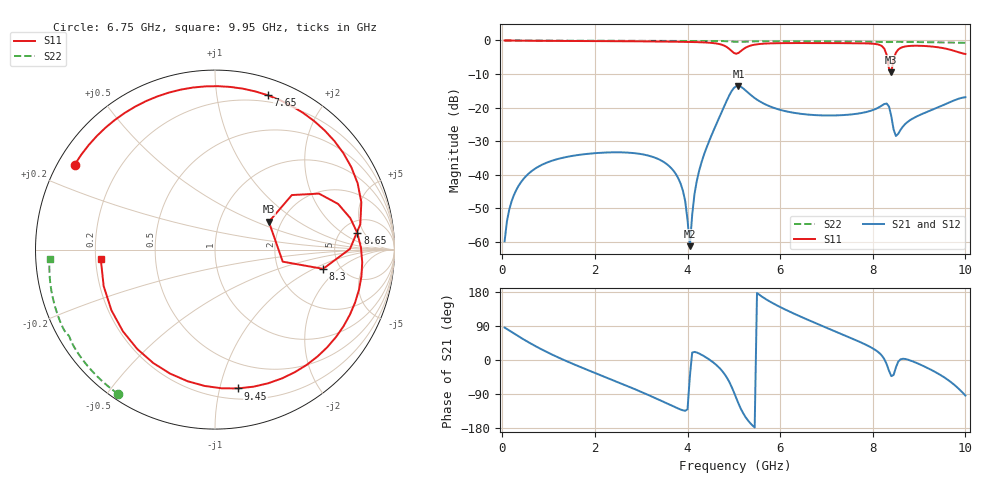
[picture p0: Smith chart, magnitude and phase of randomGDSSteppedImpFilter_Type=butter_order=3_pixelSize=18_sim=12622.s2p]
! freq	dB(S11)	phase(S11)	dB(S12)	phase(S12)
!  dB(S21)	phase(S21)	dB(S22)	phase(S22)
!S-par simulation data
#  GHz  S  DB  R 50
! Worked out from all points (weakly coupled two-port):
!   200 points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, 50 MHz to 10 GHz, reference 50 ohm
!   highest |S21| = -13.51 dB at 5.1 GHz (marker M1); lowest = -61.2 dB at 4.05 GHz (marker M2)
!   lowest |S11| = -9.4 dB at 8.4 GHz (marker M3), VSWR 2.02, Z = 86.2 + j30.1 ohm
!   |S11| at or under -10 dB: nowhere
!   |S22| runs from -0.7 to 0.0 dB; largest |S21 - S12| = 0
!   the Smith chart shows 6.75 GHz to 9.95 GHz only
!   S11 on the Smith chart (normalised r, x): 6.75 GHz: 0.05, +0.28; 7.65 GHz: 0.14, +1.39; 8.3 GHz: 3.69, -1.26; 8.65 GHz: 7.06, +3.60; 9.45 GHz: 0.28, -1.14; 9.95 GHz: 0.22, -0.04
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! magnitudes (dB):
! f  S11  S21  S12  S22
! 50 MHz  0.0  -59.8  -59.8  0.0
! 200 MHz  0.0  -47.9  -47.9  0.0
! 500 MHz  -0.1  -40.6  -40.6  0.0
! 1.75 GHz  -0.2  -33.9  -33.9  0.0
! 3.4 GHz  -0.3  -35.5  -35.5  -0.1
! 3.85 GHz  -0.4  -42.6  -42.6  -0.1
! 4.05 GHz  -0.4  -61.2  -61.2  -0.1
! 4.15 GHz  -0.5  -45.7  -45.7  -0.1
! 4.3 GHz  -0.5  -36.4  -36.4  -0.1
! 5.05 GHz  -4.0  -13.6  -13.6  -0.4
! 5.1 GHz  -3.7  -13.5  -13.5  -0.4
! 6.7 GHz  -0.8  -22.2  -22.2  -0.3
! 6.75 GHz  -0.8  -22.2  -22.2  -0.3
! 7.65 GHz  -0.8  -21.8  -21.8  -0.4
! 8.3 GHz  -4.3  -18.8  -18.8  -0.5
! 8.35 GHz  -8.3  -19.7  -19.7  -0.5
! 8.4 GHz  -9.4  -22.5  -22.5  -0.5
! 8.5 GHz  -3.6  -28.4  -28.4  -0.4
! 8.65 GHz  -2.0  -25.6  -25.6  -0.4
! 9.45 GHz  -2.1  -19.7  -19.7  -0.6
! 9.95 GHz  -3.9  -17.0  -17.0  -0.7
! 10 GHz  -4.0  -16.9  -16.9  -0.7
